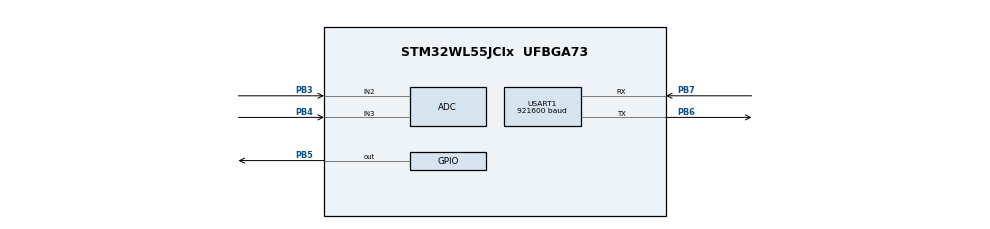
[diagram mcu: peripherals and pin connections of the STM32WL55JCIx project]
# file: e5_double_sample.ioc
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ADC.Channel-0\#ChannelRegularConversion=ADC_CHANNEL_3
ADC.Channel-1\#ChannelRegularConversion=ADC_CHANNEL_2
ADC.ClockPrescaler=ADC_CLOCK_ASYNC_DIV8
ADC.ContinuousConvMode=ENABLE
ADC.DMAContinuousRequests=ENABLE
ADC.EOCSelection=ADC_EOC_SINGLE_CONV
ADC.EnableRegularConversion=ENABLE
ADC.NbrOfConversion=2
ADC.NbrOfConversionFlag=1
ADC.Rank-0\#ChannelRegularConversion=1
ADC.Rank-1\#ChannelRegularConversion=2
ADC.SamplingTime-0\#ChannelRegularConversion=ADC_SAMPLINGTIME_COMMON_1
ADC.SamplingTime-1\#ChannelRegularConversion=ADC_SAMPLINGTIME_COMMON_1
ADC.SamplingTimeCommon1=ADC_SAMPLETIME_12CYCLES_5
ADC.ScanConvMode=ADC_SCAN_ENABLE
ADC.SelectedChannel=ADC_CHANNEL_2|ADC_CHANNEL_3
Dma.ADC.0.Channel_PRIV_NPRIV=DMA_CHANNEL_NPRIV_DISABLE
Dma.ADC.0.Direction=DMA_PERIPH_TO_MEMORY
Dma.ADC.0.EventEnable=DISABLE
Dma.ADC.0.Instance=DMA1_Channel1
Dma.ADC.0.MemDataAlignment=DMA_MDATAALIGN_HALFWORD
Dma.ADC.0.MemInc=DMA_MINC_ENABLE
Dma.ADC.0.Mode=DMA_NORMAL
Dma.ADC.0.PeriphDataAlignment=DMA_PDATAALIGN_HALFWORD
Dma.ADC.0.PeriphInc=DMA_PINC_DISABLE
Dma.ADC.0.Polarity=HAL_DMAMUX_REQ_GEN_RISING
Dma.ADC.0.Priority=DMA_PRIORITY_LOW
Dma.ADC.0.RequestNumber=1
Dma.ADC.0.SignalID=NONE
Dma.ADC.0.SyncEnable=DISABLE
Dma.ADC.0.SyncPolarity=HAL_DMAMUX_SYNC_NO_EVENT
Dma.ADC.0.SyncRequestNumber=1
Dma.ADC.0.SyncSignalID=NONE
Dma.Request0=ADC
Mcu.Family=STM32WL
Mcu.Name=STM32WL55JCIx
Mcu.Package=UFBGA73
NVIC.DMA1_Channel1_IRQn=true\:0\:0\:false\:false\:true\:false\:true\:true
NVIC.PriorityGroup=NVIC_PRIORITYGROUP_4
PB3.Mode=IN2
PB3.Signal=ADC_IN2
PB4.Mode=IN3
PB4.Signal=ADC_IN3
PB5.Signal=GPIO_Output
PB6.Mode=Asynchronous
PB6.Signal=USART1_TX
PB7.Mode=Asynchronous
PB7.Signal=USART1_RX
ProjectManager.HeapSize=0x200
ProjectManager.StackSize=0x400
ProjectManager.TargetToolchain=STM32CubeIDE
RCC.AHBFreq_Value=32000000
RCC.APB1Freq_Value=32000000
RCC.APB1TimFreq_Value=32000000
RCC.APB2Freq_Value=32000000
RCC.APB2TimFreq_Value=32000000
RCC.APB3Freq_Value=32000000
RCC.CortexFreq_Value=32000000
RCC.HCLKFreq_Value=32000000
RCC.HSE_VALUE=8000000
RCC.HSI_VALUE=16000000
RCC.LSE_VALUE=32768
RCC.MSIClockRange=RCC_MSIRANGE_10
RCC.SYSCLKFreq_VALUE=32000000
RCC.VCOOutputFreq_Value=256000000
USART1.BaudRate=921600
USART1.VirtualMode-Asynchronous=VM_ASYNC
board=custom

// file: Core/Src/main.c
/* USER CODE BEGIN Header */
/**
  ******************************************************************************
  * @file           : main.c
  * @brief          : Main program body
  ******************************************************************************
  * @attention
  *
  * Copyright (c) 2025 STMicroelectronics.
  * All rights reserved.
  *
  * This software is licensed under terms that can be found in the LICENSE file
  * in the root directory of this software component.
  * If no LICENSE file comes with this software, it is provided AS-IS.
  *
  ******************************************************************************
  */
/* USER CODE END Header */
#include "main.h"

/* USER CODE BEGIN Includes */
#include <inttypes.h>
/* USER CODE END Includes */

/* USER CODE BEGIN PD */
#define ADC_BUF_LEN 26624
/* USER CODE END PD */

/* USER CODE BEGIN PM */
#define PUTCHAR_PROTOTYPE int __io_putchar(int ch)
/* USER CODE END PM */

ADC_HandleTypeDef hadc;
DMA_HandleTypeDef hdma_adc;

UART_HandleTypeDef huart1;

/* USER CODE BEGIN PV */
volatile uint16_t adc_buf[ADC_BUF_LEN];
int dma_trigger;
/* USER CODE END PV */

void SystemClock_Config(void);
static void MX_GPIO_Init(void);
static void MX_DMA_Init(void);
static void MX_ADC_Init(void);
static void MX_USART1_UART_Init(void);
/* USER CODE BEGIN PFP */
void dump_buffer_uart(uint16_t *buf_ptr, uint32_t buf_length, int* dma_trigger);
/* USER CODE END PFP */

int main(void)
{

  /* MCU Configuration--------------------------------------------------------*/

  /* Reset of all peripherals, Initializes the Flash interface and the Systick. */
  HAL_Init();

  /* Configure the system clock */
  SystemClock_Config();

  /* Initialize all configured peripherals */
  MX_GPIO_Init();
  MX_DMA_Init();
  MX_ADC_Init();
  MX_USART1_UART_Init();
  /* USER CODE BEGIN 2 */
  dma_trigger = 0;
  HAL_ADC_Start_DMA(&hadc, (uint32_t*)adc_buf, ADC_BUF_LEN);
  /* USER CODE END 2 */

  /* Infinite loop */
  /* USER CODE BEGIN WHILE */
  while (1)
  {
	  if (dma_trigger == 1) {
		dma_trigger = 0;
		HAL_ADC_Start_DMA(&hadc, (uint32_t*)adc_buf, ADC_BUF_LEN);
	  }
    /* USER CODE END WHILE */

  }
}

void SystemClock_Config(void)
{
  RCC_OscInitTypeDef RCC_OscInitStruct = {0};
  RCC_ClkInitTypeDef RCC_ClkInitStruct = {0};

  /** Configure the main internal regulator output voltage
  */
  __HAL_PWR_VOLTAGESCALING_CONFIG(PWR_REGULATOR_VOLTAGE_SCALE1);

  /** Initializes the CPU, AHB and APB buses clocks
  */
  RCC_OscInitStruct.OscillatorType = RCC_OSCILLATORTYPE_HSI|RCC_OSCILLATORTYPE_MSI;
  RCC_OscInitStruct.HSIState = RCC_HSI_ON;
  RCC_OscInitStruct.MSIState = RCC_MSI_ON;
  RCC_OscInitStruct.HSICalibrationValue = RCC_HSICALIBRATION_DEFAULT;
  RCC_OscInitStruct.MSICalibrationValue = RCC_MSICALIBRATION_DEFAULT;
  RCC_OscInitStruct.MSIClockRange = RCC_MSIRANGE_10;
  RCC_OscInitStruct.PLL.PLLState = RCC_PLL_NONE;
  if (HAL_RCC_OscConfig(&RCC_OscInitStruct) != HAL_OK)
  {
    Error_Handler();
  }

  /** Configure the SYSCLKSource, HCLK, PCLK1 and PCLK2 clocks dividers
  */
  RCC_ClkInitStruct.ClockType = RCC_CLOCKTYPE_HCLK3|RCC_CLOCKTYPE_HCLK
                              |RCC_CLOCKTYPE_SYSCLK|RCC_CLOCKTYPE_PCLK1
                              |RCC_CLOCKTYPE_PCLK2;
  RCC_ClkInitStruct.SYSCLKSource = RCC_SYSCLKSOURCE_MSI;
  RCC_ClkInitStruct.AHBCLKDivider = RCC_SYSCLK_DIV1;
  RCC_ClkInitStruct.APB1CLKDivider = RCC_HCLK_DIV1;
  RCC_ClkInitStruct.APB2CLKDivider = RCC_HCLK_DIV1;
  RCC_ClkInitStruct.AHBCLK3Divider = RCC_SYSCLK_DIV1;

  if (HAL_RCC_ClockConfig(&RCC_ClkInitStruct, FLASH_LATENCY_1) != HAL_OK)
  {
    Error_Handler();
  }
}

static void MX_ADC_Init(void)
{

  ADC_ChannelConfTypeDef sConfig = {0};

  /** Configure the global features of the ADC (Clock, Resolution, Data Alignment and number of conversion)
  */
  hadc.Instance = ADC;
  hadc.Init.ClockPrescaler = ADC_CLOCK_ASYNC_DIV8;
  hadc.Init.Resolution = ADC_RESOLUTION_12B;
  hadc.Init.DataAlign = ADC_DATAALIGN_RIGHT;
  hadc.Init.ScanConvMode = ADC_SCAN_ENABLE;
  hadc.Init.EOCSelection = ADC_EOC_SINGLE_CONV;
  hadc.Init.LowPowerAutoWait = DISABLE;
  hadc.Init.LowPowerAutoPowerOff = DISABLE;
  hadc.Init.ContinuousConvMode = ENABLE;
  hadc.Init.NbrOfConversion = 2;
  hadc.Init.DiscontinuousConvMode = DISABLE;
  hadc.Init.ExternalTrigConv = ADC_SOFTWARE_START;
  hadc.Init.ExternalTrigConvEdge = ADC_EXTERNALTRIGCONVEDGE_NONE;
  hadc.Init.DMAContinuousRequests = ENABLE;
  hadc.Init.Overrun = ADC_OVR_DATA_PRESERVED;
  hadc.Init.SamplingTimeCommon1 = ADC_SAMPLETIME_12CYCLES_5;
  hadc.Init.SamplingTimeCommon2 = ADC_SAMPLETIME_1CYCLE_5;
  hadc.Init.OversamplingMode = DISABLE;
  hadc.Init.TriggerFrequencyMode = ADC_TRIGGER_FREQ_HIGH;
  if (HAL_ADC_Init(&hadc) != HAL_OK)
  {
    Error_Handler();
  }

  /** Configure Regular Channel
  */
  sConfig.Channel = ADC_CHANNEL_3;
  sConfig.Rank = ADC_REGULAR_RANK_1;
  sConfig.SamplingTime = ADC_SAMPLINGTIME_COMMON_1;
  if (HAL_ADC_ConfigChannel(&hadc, &sConfig) != HAL_OK)
  {
    Error_Handler();
  }

  /** Configure Regular Channel
  */
  sConfig.Channel = ADC_CHANNEL_2;
  sConfig.Rank = ADC_REGULAR_RANK_2;
  if (HAL_ADC_ConfigChannel(&hadc, &sConfig) != HAL_OK)
  {
    Error_Handler();
  }

}

static void MX_USART1_UART_Init(void)
{

  huart1.Instance = USART1;
  huart1.Init.BaudRate = 921600;
  huart1.Init.WordLength = UART_WORDLENGTH_8B;
  huart1.Init.StopBits = UART_STOPBITS_1;
  huart1.Init.Parity = UART_PARITY_NONE;
  huart1.Init.Mode = UART_MODE_TX_RX;
  huart1.Init.HwFlowCtl = UART_HWCONTROL_NONE;
  huart1.Init.OverSampling = UART_OVERSAMPLING_16;
  huart1.Init.OneBitSampling = UART_ONE_BIT_SAMPLE_DISABLE;
  huart1.Init.ClockPrescaler = UART_PRESCALER_DIV1;
  huart1.AdvancedInit.AdvFeatureInit = UART_ADVFEATURE_NO_INIT;
  if (HAL_UART_Init(&huart1) != HAL_OK)
  {
    Error_Handler();
  }
  if (HAL_UARTEx_SetTxFifoThreshold(&huart1, UART_TXFIFO_THRESHOLD_1_8) != HAL_OK)
  {
    Error_Handler();
  }
  if (HAL_UARTEx_SetRxFifoThreshold(&huart1, UART_RXFIFO_THRESHOLD_1_8) != HAL_OK)
  {
    Error_Handler();
  }
  if (HAL_UARTEx_DisableFifoMode(&huart1) != HAL_OK)
  {
    Error_Handler();
  }

}

static void MX_DMA_Init(void)
{

  /* DMA controller clock enable */
  __HAL_RCC_DMAMUX1_CLK_ENABLE();
  __HAL_RCC_DMA1_CLK_ENABLE();

  /* DMA interrupt init */
  /* DMA1_Channel1_IRQn interrupt configuration */
  HAL_NVIC_SetPriority(DMA1_Channel1_IRQn, 0, 0);
  HAL_NVIC_EnableIRQ(DMA1_Channel1_IRQn);

}

static void MX_GPIO_Init(void)
{
  GPIO_InitTypeDef GPIO_InitStruct = {0};

  /* GPIO Ports Clock Enable */
  __HAL_RCC_GPIOB_CLK_ENABLE();

  /*Configure GPIO pin Output Level */
  HAL_GPIO_WritePin(GPIOB, GPIO_PIN_5, GPIO_PIN_RESET);

  /*Configure GPIO pin : PB5 */
  GPIO_InitStruct.Pin = GPIO_PIN_5;
  GPIO_InitStruct.Mode = GPIO_MODE_OUTPUT_PP;
  GPIO_InitStruct.Pull = GPIO_NOPULL;
  GPIO_InitStruct.Speed = GPIO_SPEED_FREQ_LOW;
  HAL_GPIO_Init(GPIOB, &GPIO_InitStruct);

}

/* USER CODE BEGIN 4 */
PUTCHAR_PROTOTYPE {
  HAL_UART_Transmit(&huart1, (uint8_t *)&ch, 1, 0xFFFF);
  return ch;
}

// Called when buffer is completely filled
void HAL_ADC_ConvCpltCallback(ADC_HandleTypeDef* hadc) {
	HAL_GPIO_WritePin(LED_BANK, LED_PIN, GPIO_PIN_SET);
    dump_buffer_uart((uint16_t*)adc_buf, ADC_BUF_LEN, &dma_trigger);
    HAL_GPIO_WritePin(LED_BANK, LED_PIN, GPIO_PIN_RESET);
    // stop DMA process so it can be restarted
    HAL_ADC_Stop_DMA(hadc);
}

void dump_buffer_uart(uint16_t *buf_ptr, uint32_t buf_length, int* dma_trigger) {
	// TODO: Change start and stop signals to all ones
	printf("START\n");
	for (int i = 0; i < buf_length; i++) {
			printf("%" PRIu16 "\n", buf_ptr[i]);
		}
	printf("END\n");
	// signal that next DMA transfer can take place
	*dma_trigger = 1;
}
/* USER CODE END 4 */

void Error_Handler(void)
{
  __disable_irq();
  while (1)
  {
  }
}
